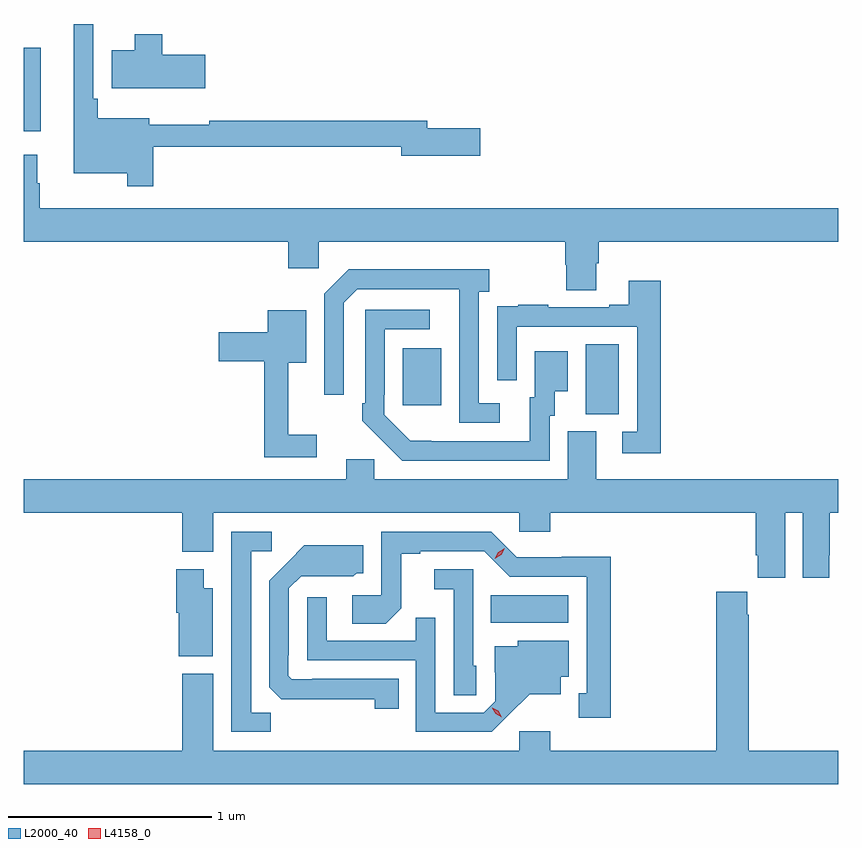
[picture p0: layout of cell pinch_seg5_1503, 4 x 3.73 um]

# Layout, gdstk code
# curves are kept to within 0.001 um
import gdstk
lib = gdstk.Library(unit=1e-6, precision=1e-09)
def R(c, l, rs):  # rectangles x0, y0, x1, y1
    for r in rs: c.add(gdstk.rectangle(r[:2], r[2:], *l))
def P(c, l, *ps):  # polygons
    for p in ps: c.add(gdstk.Polygon(p, *l))
L2000_40 = (2000, 40)
L4158_0 = (4158, 0)

pinch_seg5_1503 = lib.new_cell('pinch_seg5_1503')
R(pinch_seg5_1503, L2000_40, [(316.3,872.204,316.681,872.338), (316.766,873.229,316.93,873.572), (315.869,873.273,316.057,873.553), (314.007,874.619,314.089,875.029)])
P(pinch_seg5_1503, L2000_40, [(314.642,874.542),(315.86,874.542),(315.86,874.499),(316.249,874.499),(316.249,874.634),(315.988,874.634),(315.988,874.67),(314.919,874.67),(314.919,874.651),(314.623,874.651),(314.623,874.681),(314.369,874.681),(314.369,874.777),(314.349,874.777),(314.349,875.145),(314.252,875.145),(314.252,874.412),(314.514,874.412),(314.514,874.347),(314.642,874.347)],
  [(314.899,874.995),(314.687,874.995),(314.687,875.095),(314.552,875.095),(314.552,875.017),(314.438,875.017),(314.438,874.829),(314.899,874.829)],
  [(316.819,873.97),(316.832,873.97),(316.832,874.076),(318.007,874.076),(318.007,874.24),(314.086,874.24),(314.086,874.364),(314.074,874.364),(314.074,874.504),(314.007,874.504),(314.007,874.076),(315.305,874.076),(315.305,873.945),(315.456,873.945),(315.456,874.076),(316.667,874.076),(316.667,873.963),(316.672,873.963),(316.672,873.838),(316.819,873.838)],
  [(316.345,873.282),(316.242,873.282),(316.242,873.83),(316.294,873.83),(316.294,873.94),(315.604,873.94),(315.483,873.819),(315.483,873.324),(315.579,873.324),(315.579,873.777),(315.645,873.843),(316.146,873.843),(316.146,873.186),(316.345,873.186)],
  [(317.135,873.883),(316.979,873.883),(316.979,873.766),(316.883,873.766),(316.883,873.753),(316.583,873.753),(316.583,873.766),(316.435,873.766),(316.435,873.759),(316.333,873.759),(316.333,873.65),(316.332,873.65),(316.332,873.396),(316.428,873.396),(316.428,873.657),(317.019,873.657),(317.019,873.141),(316.947,873.141),(316.947,873.036),(317.135,873.036)],
  [(316.59,873.222),(316.615,873.222),(316.615,873.341),(316.678,873.341),(316.678,873.538),(316.517,873.538),(316.517,873.312),(316.493,873.312),(316.493,873.096),(315.906,873.097),(315.777,873.225),(315.777,873.325),(315.78,873.325),(315.78,873.645),(316,873.645),(316,873.741),(315.684,873.741),(315.684,873.283),(315.669,873.283),(315.669,873.195),(315.866,873),(316.59,873)],
  [(315.445,873.127),(315.305,873.127),(315.305,873.482),(315.394,873.482),(315.394,873.739),(315.206,873.739),(315.206,873.63),(314.964,873.63),(314.964,873.488),(315.187,873.488),(315.187,873.018),(315.445,873.018)],
  [(314.007,872.744),(314.786,872.744),(314.786,872.552),(314.938,872.552),(314.938,872.744),(316.44,872.744),(316.44,872.651),(316.592,872.651),(316.592,872.744),(317.603,872.744),(317.603,872.536),(317.612,872.536),(317.612,872.424),(317.746,872.424),(317.746,872.744),(317.834,872.744),(317.834,872.424),(317.964,872.424),(317.964,872.536),(317.965,872.536),(317.965,872.744),(318.007,872.744),(318.007,872.908),(316.819,872.908),(316.819,873.144),(316.679,873.144),(316.679,872.908),(315.729,872.908),(315.729,873.006),(315.59,873.006),(315.59,872.908),(314.007,872.908)],
  [(315.219,871.763),(315.123,871.763),(315.123,872.556),(315.226,872.556),(315.226,872.652),(315.027,872.652),(315.027,871.668),(315.219,871.668)],
  [(316.891,872.528),(316.65,872.528),(316.65,872.526),(316.428,872.526),(316.302,872.652),(315.762,872.652),(315.762,872.34),(315.621,872.34),(315.621,872.2),(315.785,872.2),(315.861,872.276),(315.861,872.544),(315.955,872.544),(315.955,872.556),(316.269,872.556),(316.395,872.43),(316.772,872.43),(316.772,871.857),(316.733,871.857),(316.733,871.737),(316.891,871.737)],
  [(315.848,871.929),(315.424,871.929),(315.424,871.926),(315.324,871.926),(315.306,871.944),(315.306,872.044),(315.309,872.044),(315.309,872.373),(315.369,872.433),(315.626,872.432),(315.642,872.448),(315.673,872.448),(315.673,872.584),(315.385,872.584),(315.213,872.41),(315.213,871.888),(315.272,871.829),(315.73,871.828),(315.73,871.782),(315.848,871.782)],
  [(314.935,872.374),(314.89,872.374),(314.89,872.467),(314.756,872.467),(314.756,872.253),(314.768,872.253),(314.768,872.039),(314.935,872.039)],
  [(316.23,871.992),(316.215,871.992),(316.215,872.466),(316.023,872.466),(316.023,872.369),(316.119,872.369),(316.119,871.849),(316.23,871.849)],
  [(318.007,871.576),(317.568,871.576),(317.568,872.243),(317.561,872.243),(317.561,872.356),(317.408,872.356),(317.408,871.576),(316.592,871.576),(316.592,871.672),(316.44,871.672),(316.44,871.576),(314.938,871.576),(314.938,871.954),(314.786,871.954),(314.786,871.576),(314.007,871.576),(314.007,871.412),(318.007,871.412)],
  [(316.39,871.751),(316.493,871.853),(316.645,871.853),(316.645,871.94),(316.684,871.94),(316.684,872.116),(316.434,872.116),(316.434,872.089),(316.319,872.089),(316.319,871.96),(316.323,871.96),(316.323,871.818),(316.266,871.761),(316.029,871.761),(316.029,872.228),(315.931,872.228),(315.931,872.115),(315.495,872.115),(315.495,872.329),(315.399,872.329),(315.399,872.019),(315.933,872.019),(315.933,871.668),(316.306,871.668)])
P(pinch_seg5_1503, L4158_0, [(316.355,871.741),(316.325,871.756),(316.307,871.785),(316.307,871.786),(316.308,871.786),(316.338,871.771),(316.355,871.741),(316.355,871.741)],
  [(316.32,872.518),(316.32,872.518),(316.337,872.551),(316.369,872.57),(316.369,872.57),(316.369,872.57),(316.352,872.537),(316.32,872.518)])

lib.write_gds('pinch_seg5_1503.gds')
